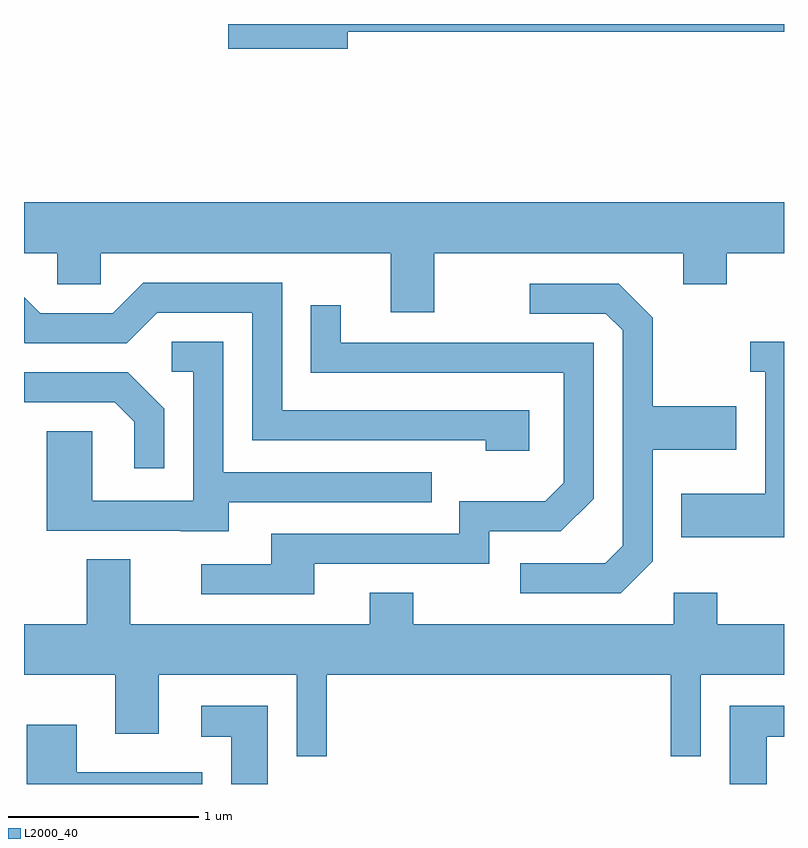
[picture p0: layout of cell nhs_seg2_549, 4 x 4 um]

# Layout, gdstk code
import gdstk
lib = gdstk.Library(unit=1e-6, precision=1e-09)
def P(c, l, *ps):  # polygons
    for p in ps: c.add(gdstk.Polygon(p, *l))
L2000_40 = (2000, 40)

nhs_seg2_549 = lib.new_cell('nhs_seg2_549')
P(nhs_seg2_549, L2000_40, [(203.314,991.761),(205.611,991.761),(205.611,991.802),(202.686,991.802),(202.686,991.671),(203.314,991.671)],
  [(203.769,990.596),(205.081,990.596),(205.081,990.431),(205.309,990.431),(205.309,990.596),(205.611,990.596),(205.611,990.864),(201.611,990.864),(201.611,990.596),(201.786,990.596),(201.786,990.431),(202.014,990.431),(202.014,990.596),(203.541,990.596),(203.541,990.286),(203.769,990.286)],
  [(204.269,989.769),(202.969,989.769),(202.969,990.439),(202.239,990.439),(202.079,990.279),(201.697,990.279),(201.611,990.365),(201.611,990.124),(201.614,990.121),(202.152,990.121),(202.312,990.281),(202.811,990.281),(202.811,989.611),(204.041,989.611),(204.041,989.556),(204.269,989.556)],
  [(204.919,988.974),(204.919,989.561),(205.359,989.561),(205.359,989.789),(204.919,989.789),(204.919,990.257),(204.742,990.434),(204.273,990.434),(204.273,990.276),(204.674,990.276),(204.761,990.189),(204.761,989.057),(204.669,988.964),(204.223,988.964),(204.223,988.806),(204.752,988.806)],
  [(203.139,988.961),(204.059,988.961),(204.059,989.131),(204.437,989.131),(204.609,989.304),(204.609,990.124),(203.279,990.124),(203.279,990.323),(203.121,990.323),(203.121,989.966),(204.451,989.966),(204.451,989.387),(204.354,989.289),(203.901,989.289),(203.901,989.119),(202.911,989.119),(202.911,988.959),(202.543,988.959),(202.543,988.801),(203.139,988.801)],
  [(202.689,989.286),(203.758,989.286),(203.758,989.444),(202.659,989.444),(202.659,990.129),(202.388,990.129),(202.388,989.971),(202.501,989.971),(202.501,989.294),(201.969,989.294),(201.969,989.659),(201.731,989.659),(201.731,989.136),(202.435,989.136),(202.435,989.131),(202.689,989.131)],
  [(205.611,990.129),(205.433,990.129),(205.433,989.971),(205.511,989.971),(205.511,989.329),(205.071,989.329),(205.071,989.101),(205.611,989.101)],
  [(202.349,989.777),(202.157,989.969),(201.611,989.969),(201.611,989.811),(202.089,989.811),(202.191,989.709),(202.191,989.463),(202.349,989.463)],
  [(203.204,988.376),(205.016,988.376),(205.016,987.948),(205.174,987.948),(205.174,988.376),(205.611,988.376),(205.611,988.644),(205.259,988.644),(205.259,988.809),(205.031,988.809),(205.031,988.644),(203.659,988.644),(203.659,988.809),(203.431,988.809),(203.431,988.644),(202.169,988.644),(202.169,988.984),(201.941,988.984),(201.941,988.644),(201.611,988.644),(201.611,988.376),(202.091,988.376),(202.091,988.066),(202.319,988.066),(202.319,988.376),(203.046,988.376),(203.046,987.948),(203.204,987.948)],
  [(202.894,988.214),(202.543,988.214),(202.543,988.051),(202.701,988.051),(202.701,987.802),(202.894,987.802)],
  [(205.519,988.051),(205.611,988.051),(205.611,988.214),(205.326,988.214),(205.326,987.802),(205.519,987.802)],
  [(202.549,987.864),(201.889,987.864),(201.889,988.114),(201.626,988.114),(201.626,987.802),(202.549,987.802)])

lib.write_gds('nhs_seg2_549.gds')
